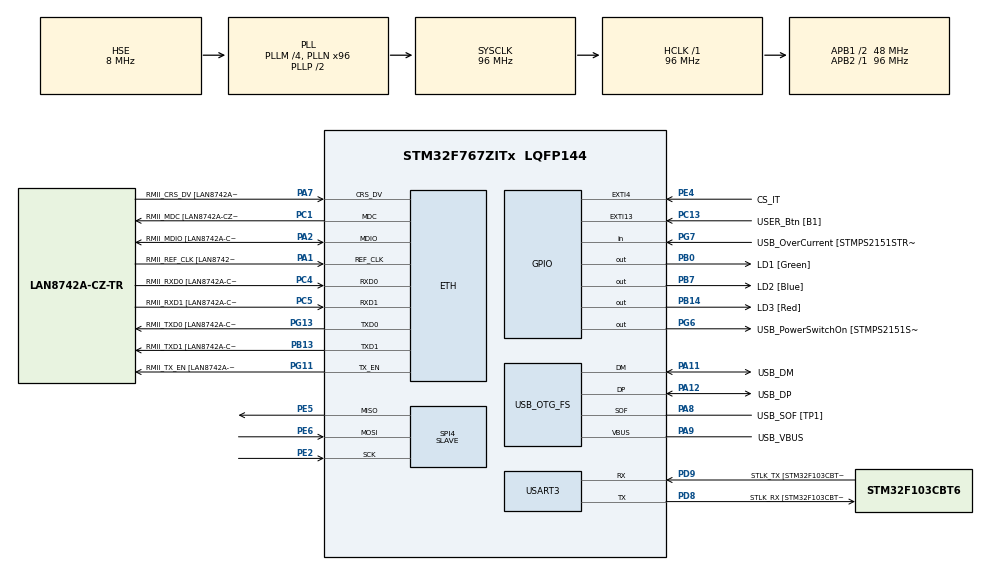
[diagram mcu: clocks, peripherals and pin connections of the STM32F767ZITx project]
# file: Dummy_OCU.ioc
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Dma.Request0=SPI4_RX
Dma.Request1=SPI4_TX
Dma.SPI4_RX.0.Direction=DMA_PERIPH_TO_MEMORY
Dma.SPI4_RX.0.FIFOMode=DMA_FIFOMODE_DISABLE
Dma.SPI4_RX.0.Instance=DMA2_Stream0
Dma.SPI4_RX.0.MemDataAlignment=DMA_MDATAALIGN_BYTE
Dma.SPI4_RX.0.MemInc=DMA_MINC_ENABLE
Dma.SPI4_RX.0.Mode=DMA_NORMAL
Dma.SPI4_RX.0.PeriphDataAlignment=DMA_PDATAALIGN_BYTE
Dma.SPI4_RX.0.PeriphInc=DMA_PINC_DISABLE
Dma.SPI4_RX.0.Priority=DMA_PRIORITY_HIGH
Dma.SPI4_TX.1.Direction=DMA_MEMORY_TO_PERIPH
Dma.SPI4_TX.1.FIFOMode=DMA_FIFOMODE_DISABLE
Dma.SPI4_TX.1.Instance=DMA2_Stream1
Dma.SPI4_TX.1.MemDataAlignment=DMA_MDATAALIGN_BYTE
Dma.SPI4_TX.1.MemInc=DMA_MINC_ENABLE
Dma.SPI4_TX.1.Mode=DMA_NORMAL
Dma.SPI4_TX.1.PeriphDataAlignment=DMA_PDATAALIGN_BYTE
Dma.SPI4_TX.1.PeriphInc=DMA_PINC_DISABLE
Dma.SPI4_TX.1.Priority=DMA_PRIORITY_HIGH
ETH.MediaInterface=ETH_MEDIA_INTERFACE_RMII
ETH.PHY_Name=LAN8742A_PHY_ADDRESS
ETH.PHY_Value=0
ETH.PhyAddress=0
Mcu.Family=STM32F7
Mcu.Name=STM32F767ZITx
Mcu.Package=LQFP144
NVIC.DMA2_Stream0_IRQn=true\:0\:0\:false\:false\:true\:false\:true
NVIC.DMA2_Stream1_IRQn=true\:0\:0\:false\:false\:true\:false\:true
NVIC.PriorityGroup=NVIC_PRIORITYGROUP_4
NVIC.SPI4_IRQn=true\:0\:0\:false\:false\:true\:true\:true
PA1.GPIO_Label=RMII_REF_CLK [LAN8742A-CZ-TR_REFCLK0]
PA1.Mode=RMII
PA1.Signal=ETH_REF_CLK
PA10.GPIO_Label=USB_ID
PA10.Signal=USB_OTG_FS_ID
PA11.GPIO_Label=USB_DM
PA11.Mode=Device_Only
PA11.Signal=USB_OTG_FS_DM
PA12.GPIO_Label=USB_DP
PA12.Mode=Device_Only
PA12.Signal=USB_OTG_FS_DP
PA13.GPIO_Label=TMS
PA13.Mode=Serial_Wire
PA13.Signal=SYS_JTMS-SWDIO
PA14.GPIO_Label=TCK
PA14.Mode=Serial_Wire
PA14.Signal=SYS_JTCK-SWCLK
PA2.GPIO_Label=RMII_MDIO [LAN8742A-CZ-TR_MDIO]
PA2.Mode=RMII
PA2.Signal=ETH_MDIO
PA7.GPIO_Label=RMII_CRS_DV [LAN8742A-CZ-TR_CRS_DV]
PA7.Mode=RMII
PA7.Signal=ETH_CRS_DV
PA8.GPIO_Label=USB_SOF [TP1]
PA8.Mode=Activate_SOF_FS
PA8.Signal=USB_OTG_FS_SOF
PA9.GPIO_Label=USB_VBUS
PA9.Mode=Activate_VBUS
PA9.Signal=USB_OTG_FS_VBUS
PB0.GPIO_Label=LD1 [Green]
PB0.Signal=GPIO_Output
PB13.GPIO_Label=RMII_TXD1 [LAN8742A-CZ-TR_TXD1]
PB13.Mode=RMII
PB13.Signal=ETH_TXD1
PB14.GPIO_Label=LD3 [Red]
PB14.Signal=GPIO_Output
PB3.GPIO_Label=SWO
PB3.Signal=SYS_JTDO-SWO
PB7.GPIO_Label=LD2 [Blue]
PB7.Signal=GPIO_Output
PC1.GPIO_Label=RMII_MDC [LAN8742A-CZ-TR_MDC]
PC1.Mode=RMII
PC1.Signal=ETH_MDC
PC13.GPIO_Label=USER_Btn [B1]
PC13.Signal=GPXTI13
PC14/OSC32_IN.Mode=LSE-External-Oscillator
PC14/OSC32_IN.Signal=RCC_OSC32_IN
PC15/OSC32_OUT.Mode=LSE-External-Oscillator
PC15/OSC32_OUT.Signal=RCC_OSC32_OUT
PC4.GPIO_Label=RMII_RXD0 [LAN8742A-CZ-TR_RXD0]
PC4.Mode=RMII
PC4.Signal=ETH_RXD0
PC5.GPIO_Label=RMII_RXD1 [LAN8742A-CZ-TR_RXD1]
PC5.Mode=RMII
PC5.Signal=ETH_RXD1
PD8.GPIO_Label=STLK_RX [STM32F103CBT6_PA3]
PD8.Mode=Asynchronous
PD8.Signal=USART3_TX
PD9.GPIO_Label=STLK_TX [STM32F103CBT6_PA2]
PD9.Mode=Asynchronous
PD9.Signal=USART3_RX
PE2.Mode=Full_Duplex_Slave
PE2.Signal=SPI4_SCK
PE4.GPIO_Label=CS_IT
PE4.GPIO_ModeDefaultEXTI=GPIO_MODE_IT_FALLING
PE4.Signal=GPXTI4
PE5.Mode=Full_Duplex_Slave
PE5.Signal=SPI4_MISO
PE6.Mode=Full_Duplex_Slave
PE6.Signal=SPI4_MOSI
PG11.GPIO_Label=RMII_TX_EN [LAN8742A-CZ-TR_TXEN]
PG11.Mode=RMII
PG11.Signal=ETH_TX_EN
PG13.GPIO_Label=RMII_TXD0 [LAN8742A-CZ-TR_TXD0]
PG13.Mode=RMII
PG13.Signal=ETH_TXD0
PG6.GPIO_Label=USB_PowerSwitchOn [STMPS2151STR_EN]
PG6.Signal=GPIO_Output
PG7.GPIO_Label=USB_OverCurrent [STMPS2151STR_FAULT]
PG7.Signal=GPIO_Input
PH0/OSC_IN.GPIO_Label=MCO [STM32F103CBT6_PA8]
PH0/OSC_IN.Mode=HSE-External-Clock-Source
PH0/OSC_IN.Signal=RCC_OSC_IN
PH1/OSC_OUT.Mode=HSE-External-Clock-Source
PH1/OSC_OUT.Signal=RCC_OSC_OUT
ProjectManager.HeapSize=0x200
ProjectManager.StackSize=0x400
ProjectManager.TargetToolchain=STM32CubeIDE
RCC.48MHZClocksFreq_Value=24000000
RCC.AHBFreq_Value=96000000
RCC.APB1CLKDivider=RCC_HCLK_DIV2
RCC.APB1Freq_Value=48000000
RCC.APB1TimFreq_Value=96000000
RCC.APB2Freq_Value=96000000
RCC.APB2TimFreq_Value=96000000
RCC.CortexFreq_Value=96000000
RCC.HCLKFreq_Value=96000000
RCC.HSE_VALUE=8000000
RCC.HSI_VALUE=16000000
RCC.PLLM=4
RCC.PLLMUL=RCC_PLL_MUL9
RCC.PLLN=96
RCC.PLLQ=4
RCC.PRESCALERUSB=RCC_USBCLKSOURCE_PLL_DIV1_5
RCC.SYSCLKFreq_VALUE=96000000
RCC.SYSCLKSource=RCC_SYSCLKSOURCE_PLLCLK
RCC.SYSCLKSourceVirtual=RCC_SYSCLKSOURCE_PLLCLK
RCC.USBFreq_Value=48000000
RCC.VCOOutputFreq_Value=192000000
SPI4.DataSize=SPI_DATASIZE_8BIT
SPI4.Direction=SPI_DIRECTION_2LINES
SPI4.Mode=SPI_MODE_SLAVE
SPI4.VirtualType=VM_SLAVE
TIM14.Period=5000 - 1
TIM14.Prescaler=10800 - 1
USART3.VirtualMode-Asynchronous=VM_ASYNC
USB_OTG_FS.VirtualMode=Device_Only
VP_TIM14_VS_ClockSourceINT.Mode=Enable_Timer
board=NUCLEO-F767ZI

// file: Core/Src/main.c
/* USER CODE BEGIN Header */
/**
  ******************************************************************************
  * @file           : main.c
  * @brief          : Main program body
  ******************************************************************************
  * @attention
  *
  * Copyright (c) 2022 STMicroelectronics.
  * All rights reserved.
  *
  * This software is licensed under terms that can be found in the LICENSE file
  * in the root directory of this software component.
  * If no LICENSE file comes with this software, it is provided AS-IS.
  *
  ******************************************************************************
  */
/* USER CODE END Header */
#include "main.h"

/* USER CODE BEGIN Includes */
#include "stdio.h"
#include "IntraSatComm.h"
#include "OBC_Header_OCU.h"
/* USER CODE END Includes */

ETH_HandleTypeDef heth;

SPI_HandleTypeDef hspi4;
DMA_HandleTypeDef hdma_spi4_rx;
DMA_HandleTypeDef hdma_spi4_tx;

TIM_HandleTypeDef htim14;

UART_HandleTypeDef huart3;

PCD_HandleTypeDef hpcd_USB_OTG_FS;

/* USER CODE BEGIN PV */
uint8_t buffer[15];

uint8_t transmit[12];
uint8_t transmit_full[100];

uint8_t argRet[100];
uint8_t receive[12];
uint8_t receive_full [100];

int transfer;
deframeReturn retVal;
int nextLen;
uint8_t id,len,cmd;
/* USER CODE END PV */

void SystemClock_Config(void);
static void MX_GPIO_Init(void);
static void MX_ETH_Init(void);
static void MX_USART3_UART_Init(void);
static void MX_DMA_Init(void);
static void MX_SPI4_Init(void);
static void MX_USB_OTG_FS_PCD_Init(void);
static void MX_TIM14_Init(void);

/* USER CODE BEGIN 0 */

void EncryptMessage(uint8_t cmd_id, uint8_t len, uint8_t *arg, uint8_t *buffer)
{
	PacketAssemble(OCU_BUS_ID, cmd_id, arg, len, buffer);
};
deframeReturn BreakMessage(uint8_t *buffer_arg, uint8_t *buffer_msg, uint8_t length)
{
	return PacketDisassemble(&id, &len, &cmd, buffer_arg, buffer_msg, length);;

};
void DecryptMessage(uint8_t *buffer)
{
	if(id != OCU_BUS_ID)
			return;
		switch(cmd)
		{
		case OCU_HANDSHAKE:
			nextLen = buffer[0] + 4 + 1 + 1 + 1 + 4;
			uint8_t arg[] = {0x00};
			EncryptMessage(OCU_HANDSHAKE, len, arg, transmit);
			break;
		case OCU_GET_CURRENT:
			nextLen = 20;
			uint8_t argCurrent[] = {3.8,5.5,2.3,1.8,0.5};
			EncryptMessage(OCU_GET_CURRENT, 5, argCurrent, transmit_full);
			break;
		}
}
void HAL_GPIO_EXTI_Callback(uint16_t GPIO_Pin)
{
	if(GPIO_Pin == CS_IT_Pin)
	{
		if(HAL_GPIO_ReadPin(CS_IT_GPIO_Port, CS_IT_Pin) == 1 )
		{

		}else if(HAL_GPIO_ReadPin(CS_IT_GPIO_Port, CS_IT_Pin) == 0 )
		{
			if(transfer == 0)
			{
				HAL_SPI_Receive_DMA(&hspi4,receive,12);
			}else if(transfer == 1)
			{
				HAL_SPI_Transmit_DMA(&hspi4, transmit, 12);
			}else if(transfer == 2)
			{
				HAL_SPI_Receive_DMA(&hspi4, receive_full, nextLen);
			}else if(transfer == 3)
			{
				HAL_SPI_Transmit_DMA(&hspi4, transmit_full, nextLen);
			}
		}
	}
};
void HAL_TIM_PeriodElapsedCallback(TIM_HandleTypeDef *htim)
{
	if(htim->Instance == htim14.Instance)
	{
		HAL_GPIO_TogglePin(GPIOB, GPIO_PIN_0);
	}
};

/* Callback SPI Transmit Function */
void HAL_SPI_TxCpltCallback(SPI_HandleTypeDef *hspi)
{
	if(hspi->Instance == hspi4.Instance)
	{
		if(transfer == 1)
		{
			transfer++;
		}else if(transfer == 3)
		{
			transfer = 0;
			nextLen = 0;
		}
	}
};

/* Callback SPI Receive Function */
void HAL_SPI_RxCpltCallback(SPI_HandleTypeDef *hspi)
{
	if(hspi->Instance == hspi4.Instance)
	{
		if(transfer == 0)
		{
			HAL_SPIEx_FlushRxFifo(&hspi4);
			retVal = BreakMessage(argRet,receive, sizeof(argRet));
			if(retVal != DEFRAME_OK)
			{
				HAL_SPI_DeInit(&hspi4);
				HAL_SPI_Init(&hspi4);
				MX_SPI4_Init();
				transfer = 0;
				return;
			}
			DecryptMessage(argRet);
			transfer++;
		}else if(transfer == 2)
		{
			HAL_SPIEx_FlushRxFifo(&hspi4);
			retVal = BreakMessage(argRet, receive_full, sizeof(argRet));
			if(retVal != DEFRAME_OK)
			{
				HAL_SPI_DeInit(&hspi4);
				HAL_SPI_Init(&hspi4);
				MX_SPI4_Init();
				transfer = 0;
				return;
			}
			DecryptMessage(argRet);
			transfer++;
		}
	}
};

/* USER CODE END 0 */

int main(void)
{

  /* MCU Configuration--------------------------------------------------------*/

  /* Reset of all peripherals, Initializes the Flash interface and the Systick. */
  HAL_Init();

  /* Configure the system clock */
  SystemClock_Config();

  /* Initialize all configured peripherals */
  MX_GPIO_Init();
  MX_ETH_Init();
  MX_USART3_UART_Init();
  MX_DMA_Init();
  MX_SPI4_Init();
  MX_USB_OTG_FS_PCD_Init();
  MX_TIM14_Init();
  /* USER CODE BEGIN 2 */

  HAL_TIM_Base_Start_IT(&htim14);
  PacketInit();
  /* USER CODE END 2 */

  /* Infinite loop */
  while (1)
  {

  }

}

void SystemClock_Config(void)
{
  RCC_OscInitTypeDef RCC_OscInitStruct = {0};
  RCC_ClkInitTypeDef RCC_ClkInitStruct = {0};

  /** Configure LSE Drive Capability
  */
  HAL_PWR_EnableBkUpAccess();
  /** Configure the main internal regulator output voltage
  */
  __HAL_RCC_PWR_CLK_ENABLE();
  __HAL_PWR_VOLTAGESCALING_CONFIG(PWR_REGULATOR_VOLTAGE_SCALE3);
  /** Initializes the RCC Oscillators according to the specified parameters
  * in the RCC_OscInitTypeDef structure.
  */
  RCC_OscInitStruct.OscillatorType = RCC_OSCILLATORTYPE_HSE;
  RCC_OscInitStruct.HSEState = RCC_HSE_BYPASS;
  RCC_OscInitStruct.PLL.PLLState = RCC_PLL_ON;
  RCC_OscInitStruct.PLL.PLLSource = RCC_PLLSOURCE_HSE;
  RCC_OscInitStruct.PLL.PLLM = 4;
  RCC_OscInitStruct.PLL.PLLN = 96;
  RCC_OscInitStruct.PLL.PLLP = RCC_PLLP_DIV2;
  RCC_OscInitStruct.PLL.PLLQ = 4;
  RCC_OscInitStruct.PLL.PLLR = 2;
  if (HAL_RCC_OscConfig(&RCC_OscInitStruct) != HAL_OK)
  {
    Error_Handler();
  }
  /** Activate the Over-Drive mode
  */
  if (HAL_PWREx_EnableOverDrive() != HAL_OK)
  {
    Error_Handler();
  }
  /** Initializes the CPU, AHB and APB buses clocks
  */
  RCC_ClkInitStruct.ClockType = RCC_CLOCKTYPE_HCLK|RCC_CLOCKTYPE_SYSCLK
                              |RCC_CLOCKTYPE_PCLK1|RCC_CLOCKTYPE_PCLK2;
  RCC_ClkInitStruct.SYSCLKSource = RCC_SYSCLKSOURCE_PLLCLK;
  RCC_ClkInitStruct.AHBCLKDivider = RCC_SYSCLK_DIV1;
  RCC_ClkInitStruct.APB1CLKDivider = RCC_HCLK_DIV2;
  RCC_ClkInitStruct.APB2CLKDivider = RCC_HCLK_DIV1;

  if (HAL_RCC_ClockConfig(&RCC_ClkInitStruct, FLASH_LATENCY_3) != HAL_OK)
  {
    Error_Handler();
  }
}

static void MX_ETH_Init(void)
{

   static uint8_t MACAddr[6];

  heth.Instance = ETH;
  heth.Init.AutoNegotiation = ETH_AUTONEGOTIATION_ENABLE;
  heth.Init.Speed = ETH_SPEED_100M;
  heth.Init.DuplexMode = ETH_MODE_FULLDUPLEX;
  heth.Init.PhyAddress = LAN8742A_PHY_ADDRESS;
  MACAddr[0] = 0x00;
  MACAddr[1] = 0x80;
  MACAddr[2] = 0xE1;
  MACAddr[3] = 0x00;
  MACAddr[4] = 0x00;
  MACAddr[5] = 0x00;
  heth.Init.MACAddr = &MACAddr[0];
  heth.Init.RxMode = ETH_RXPOLLING_MODE;
  heth.Init.ChecksumMode = ETH_CHECKSUM_BY_HARDWARE;
  heth.Init.MediaInterface = ETH_MEDIA_INTERFACE_RMII;

  if (HAL_ETH_Init(&heth) != HAL_OK)
  {
    Error_Handler();
  }

}

static void MX_SPI4_Init(void)
{

  /* SPI4 parameter configuration*/
  hspi4.Instance = SPI4;
  hspi4.Init.Mode = SPI_MODE_SLAVE;
  hspi4.Init.Direction = SPI_DIRECTION_2LINES;
  hspi4.Init.DataSize = SPI_DATASIZE_8BIT;
  hspi4.Init.CLKPolarity = SPI_POLARITY_LOW;
  hspi4.Init.CLKPhase = SPI_PHASE_1EDGE;
  hspi4.Init.NSS = SPI_NSS_SOFT;
  hspi4.Init.FirstBit = SPI_FIRSTBIT_MSB;
  hspi4.Init.TIMode = SPI_TIMODE_DISABLE;
  hspi4.Init.CRCCalculation = SPI_CRCCALCULATION_DISABLE;
  hspi4.Init.CRCPolynomial = 7;
  hspi4.Init.CRCLength = SPI_CRC_LENGTH_DATASIZE;
  hspi4.Init.NSSPMode = SPI_NSS_PULSE_DISABLE;
  if (HAL_SPI_Init(&hspi4) != HAL_OK)
  {
    Error_Handler();
  }

}

static void MX_TIM14_Init(void)
{

  htim14.Instance = TIM14;
  htim14.Init.Prescaler = 10800 - 1;
  htim14.Init.CounterMode = TIM_COUNTERMODE_UP;
  htim14.Init.Period = 5000 - 1;
  htim14.Init.ClockDivision = TIM_CLOCKDIVISION_DIV1;
  htim14.Init.AutoReloadPreload = TIM_AUTORELOAD_PRELOAD_DISABLE;
  if (HAL_TIM_Base_Init(&htim14) != HAL_OK)
  {
    Error_Handler();
  }

}

static void MX_USART3_UART_Init(void)
{

  huart3.Instance = USART3;
  huart3.Init.BaudRate = 115200;
  huart3.Init.WordLength = UART_WORDLENGTH_8B;
  huart3.Init.StopBits = UART_STOPBITS_1;
  huart3.Init.Parity = UART_PARITY_NONE;
  huart3.Init.Mode = UART_MODE_TX_RX;
  huart3.Init.HwFlowCtl = UART_HWCONTROL_NONE;
  huart3.Init.OverSampling = UART_OVERSAMPLING_16;
  huart3.Init.OneBitSampling = UART_ONE_BIT_SAMPLE_DISABLE;
  huart3.AdvancedInit.AdvFeatureInit = UART_ADVFEATURE_NO_INIT;
  if (HAL_UART_Init(&huart3) != HAL_OK)
  {
    Error_Handler();
  }

}

static void MX_USB_OTG_FS_PCD_Init(void)
{

  hpcd_USB_OTG_FS.Instance = USB_OTG_FS;
  hpcd_USB_OTG_FS.Init.dev_endpoints = 6;
  hpcd_USB_OTG_FS.Init.speed = PCD_SPEED_FULL;
  hpcd_USB_OTG_FS.Init.dma_enable = DISABLE;
  hpcd_USB_OTG_FS.Init.phy_itface = PCD_PHY_EMBEDDED;
  hpcd_USB_OTG_FS.Init.Sof_enable = ENABLE;
  hpcd_USB_OTG_FS.Init.low_power_enable = DISABLE;
  hpcd_USB_OTG_FS.Init.lpm_enable = DISABLE;
  hpcd_USB_OTG_FS.Init.vbus_sensing_enable = ENABLE;
  hpcd_USB_OTG_FS.Init.use_dedicated_ep1 = DISABLE;
  if (HAL_PCD_Init(&hpcd_USB_OTG_FS) != HAL_OK)
  {
    Error_Handler();
  }

}

static void MX_DMA_Init(void)
{

  /* DMA controller clock enable */
  __HAL_RCC_DMA2_CLK_ENABLE();

  /* DMA interrupt init */
  /* DMA2_Stream0_IRQn interrupt configuration */
  HAL_NVIC_SetPriority(DMA2_Stream0_IRQn, 0, 0);
  HAL_NVIC_EnableIRQ(DMA2_Stream0_IRQn);
  /* DMA2_Stream1_IRQn interrupt configuration */
  HAL_NVIC_SetPriority(DMA2_Stream1_IRQn, 0, 0);
  HAL_NVIC_EnableIRQ(DMA2_Stream1_IRQn);

}

static void MX_GPIO_Init(void)
{
  GPIO_InitTypeDef GPIO_InitStruct = {0};

  /* GPIO Ports Clock Enable */
  __HAL_RCC_GPIOE_CLK_ENABLE();
  __HAL_RCC_GPIOC_CLK_ENABLE();
  __HAL_RCC_GPIOH_CLK_ENABLE();
  __HAL_RCC_GPIOA_CLK_ENABLE();
  __HAL_RCC_GPIOB_CLK_ENABLE();
  __HAL_RCC_GPIOD_CLK_ENABLE();
  __HAL_RCC_GPIOG_CLK_ENABLE();

  /*Configure GPIO pin Output Level */
  HAL_GPIO_WritePin(GPIOB, LD1_Pin|LD3_Pin|LD2_Pin, GPIO_PIN_RESET);

  /*Configure GPIO pin Output Level */
  HAL_GPIO_WritePin(USB_PowerSwitchOn_GPIO_Port, USB_PowerSwitchOn_Pin, GPIO_PIN_RESET);

  /*Configure GPIO pin : CS_IT_Pin */
  GPIO_InitStruct.Pin = CS_IT_Pin;
  GPIO_InitStruct.Mode = GPIO_MODE_IT_FALLING;
  GPIO_InitStruct.Pull = GPIO_NOPULL;
  HAL_GPIO_Init(CS_IT_GPIO_Port, &GPIO_InitStruct);

  /*Configure GPIO pin : USER_Btn_Pin */
  GPIO_InitStruct.Pin = USER_Btn_Pin;
  GPIO_InitStruct.Mode = GPIO_MODE_IT_RISING;
  GPIO_InitStruct.Pull = GPIO_NOPULL;
  HAL_GPIO_Init(USER_Btn_GPIO_Port, &GPIO_InitStruct);

  /*Configure GPIO pins : LD1_Pin LD3_Pin LD2_Pin */
  GPIO_InitStruct.Pin = LD1_Pin|LD3_Pin|LD2_Pin;
  GPIO_InitStruct.Mode = GPIO_MODE_OUTPUT_PP;
  GPIO_InitStruct.Pull = GPIO_NOPULL;
  GPIO_InitStruct.Speed = GPIO_SPEED_FREQ_LOW;
  HAL_GPIO_Init(GPIOB, &GPIO_InitStruct);

  /*Configure GPIO pin : USB_PowerSwitchOn_Pin */
  GPIO_InitStruct.Pin = USB_PowerSwitchOn_Pin;
  GPIO_InitStruct.Mode = GPIO_MODE_OUTPUT_PP;
  GPIO_InitStruct.Pull = GPIO_NOPULL;
  GPIO_InitStruct.Speed = GPIO_SPEED_FREQ_LOW;
  HAL_GPIO_Init(USB_PowerSwitchOn_GPIO_Port, &GPIO_InitStruct);

  /*Configure GPIO pin : USB_OverCurrent_Pin */
  GPIO_InitStruct.Pin = USB_OverCurrent_Pin;
  GPIO_InitStruct.Mode = GPIO_MODE_INPUT;
  GPIO_InitStruct.Pull = GPIO_NOPULL;
  HAL_GPIO_Init(USB_OverCurrent_GPIO_Port, &GPIO_InitStruct);

}

void Error_Handler(void)
{
  __disable_irq();
  while (1)
  {
  }
}
